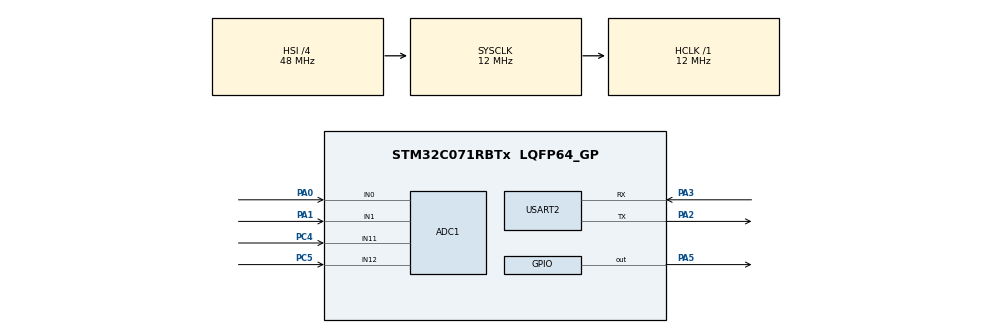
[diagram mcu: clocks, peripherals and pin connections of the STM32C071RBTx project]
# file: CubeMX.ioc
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ADC1.ContinuousConvMode=DISABLE
ADC1.EnableAnalogWatchDog1=false
ADC1.NbrOfConversionFlag=0
ADC1.SamplingTimeCommon1=ADC_SAMPLETIME_12CYCLES_5
ADC1.SelectedChannel=ADC_CHANNEL_0|ADC_CHANNEL_1|ADC_CHANNEL_11|ADC_CHANNEL_12
ADC1.WDGCONV1Channel1=ADC_CHANNEL_0
ADC1.WDGCONV1Channel2=ADC_CHANNEL_4
ADC1.WatchdogMode2=ADC_ANALOGWATCHDOG_ALL_REG
ADC1.WatchdogMode3=ADC_ANALOGWATCHDOG_ALL_REG
ADC1.master=1
Mcu.Family=STM32C0
Mcu.Name=STM32C071RBTx
Mcu.Package=LQFP64_GP
PA0.Mode=IN0
PA0.Signal=ADC1_IN0
PA1.Mode=IN1
PA1.Signal=ADC1_IN1
PA2.Mode=Asynchronous
PA2.Signal=USART2_TX
PA3.Mode=Asynchronous
PA3.Signal=USART2_RX
PA5.Signal=GPIO_Output
PC4.Mode=IN11
PC4.Signal=ADC1_IN11
PC5.Mode=IN12
PC5.Signal=ADC1_IN12
ProjectManager.HeapSize=0x200
ProjectManager.StackSize=0x400
ProjectManager.TargetToolchain=STM32CubeIDE
RCC.ADCFreq_Value=12000000
RCC.AHBFreq_Value=12000000
RCC.CortexFreq_Value=12000000
RCC.EXTERNAL_CLOCK_VALUE=12288000
RCC.HCLKFreq_Value=12000000
RCC.HSE_VALUE=8000000
RCC.HSI48_VALUE=48000000
RCC.HSI_VALUE=48000000
RCC.LSE_VALUE=32768
RCC.SYSCLKFreq_VALUE=12000000
USART2.VirtualMode-Asynchronous=VM_ASYNC
board=custom

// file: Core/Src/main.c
/* USER CODE BEGIN Header */
/**
  ******************************************************************************
  * @file           : main.c
  * @brief          : Steering + pot throttle + Y-axis gear/brake over UART
  *
  * NUCLEO-C071RB wiring:
  *   Steering joystick VRx -> A0  (PA0 / ADC1_IN0  / ADC_CHANNEL_0)
  *   Throttle potentiometer -> A4 (PC4 / ADC1_IN11 / ADC_CHANNEL_11)
  *   Joystick VRy -> A1 (PA1 / ADC1_IN1 / ADC_CHANNEL_1)
  *   Joystick VCC -> 3.3V, GND -> GND
  *
  * Behavior:
  *   Pot       -> throttle percentage (0..100)
  *   VRy UP    -> gear command (0/1)
  *   VRy DOWN  -> brake percentage (0..100)
  *
  * UART:
  *   USART2 @ 115200 8N1 -> STLink VCP (COM3)
  ******************************************************************************
  */
/* USER CODE END Header */

#include "main.h"

/* USER CODE BEGIN Includes */
#include <stdio.h>
#include <string.h>
#include <stdlib.h>
#include <stdint.h>
/* USER CODE END Includes */

/* USER CODE BEGIN PD */
#define DEADZONE_PCT   5
#define MAX_ANGLE_DEG  90
#define CALIB_SAMPLES  64
#define THR_DEADBAND   10
#define THR_INVERT     1    // inverted pot: T=4095 -> 0%, T=0 -> 100%
#define Y_DEADZONE_PCT 8
#define Y_UP_IS_HIGH   1    // 1: ADC above center means "up", 0: inverse
#define LOOP_DELAY_MS  20   // ~50 Hz (safe at 115200 with verbose line)
/* USER CODE END PD */

ADC_HandleTypeDef hadc1;
UART_HandleTypeDef huart2;

/* USER CODE BEGIN PV */
volatile uint32_t rawS = 0;      // steering raw (PA0 / CH0)
volatile uint32_t rawT = 0;      // throttle raw (PC4 / CH11)
volatile uint32_t rawY = 0;      // joystick Y raw (PA1 / CH1)

volatile uint32_t centerS  = 2048;
volatile uint32_t leftS    = 2048;
volatile uint32_t rightS   = 2048;

volatile uint32_t minT = 2048;
volatile uint32_t maxT = 2048;

volatile uint32_t centerY = 2048;
volatile uint32_t minY    = 2048;
volatile uint32_t maxY    = 2048;

volatile int32_t steer_pct    = 0;  // -100..+100
volatile int32_t angle_deg    = 0;  // -90..+90
volatile int32_t thr_pct      = 0;  // 0..100
volatile int32_t gear_cmd     = 0;  // 0/1
volatile int32_t brake_pct    = 0;  // 0..100
/* USER CODE END PV */

void SystemClock_Config(void);
static void MX_GPIO_Init(void);
static void MX_ADC1_Init(void);
static void MX_USART2_UART_Init(void);

/* USER CODE BEGIN 0 */
static int32_t clamp_i32(int32_t x, int32_t lo, int32_t hi)
{
  if (x < lo) return lo;
  if (x > hi) return hi;
  return x;
}

static uint32_t adc_read_channel(uint32_t channel)
{
  ADC_ChannelConfTypeDef sConfig = {0};
  sConfig.Channel = channel;
  sConfig.Rank    = ADC_REGULAR_RANK_1;
  sConfig.SamplingTime = ADC_SAMPLINGTIME_COMMON_1;

  if (HAL_ADC_ConfigChannel(&hadc1, &sConfig) != HAL_OK)
  {
    Error_Handler();
  }

  // Dummy conversion after channel switch
  HAL_ADC_Start(&hadc1);
  HAL_ADC_PollForConversion(&hadc1, 10);
  (void)HAL_ADC_GetValue(&hadc1);

  // Real conversion
  HAL_ADC_Start(&hadc1);
  HAL_ADC_PollForConversion(&hadc1, 10);
  uint32_t v = HAL_ADC_GetValue(&hadc1);
  HAL_ADC_Stop(&hadc1);

  return v;
}

static void uart_tx(const char *s)
{
  HAL_UART_Transmit(&huart2, (uint8_t*)s, (uint16_t)strlen(s), 100);
}
/* USER CODE END 0 */

int main(void)
{
  HAL_Init();
  SystemClock_Config();

  MX_GPIO_Init();
  MX_ADC1_Init();
  MX_USART2_UART_Init();

  /* USER CODE BEGIN 2 */
  // Give STLink VCP time to enumerate
  HAL_Delay(1500);

  uart_tx("HELLO\r\n");

  // --- Calibrate steering center (hands off steering joystick) ---
  uint32_t sumS = 0;
  for (int i = 0; i < CALIB_SAMPLES; i++)
  {
    sumS += adc_read_channel(ADC_CHANNEL_0);   // PA0
    HAL_Delay(2);
  }
  centerS = sumS / CALIB_SAMPLES;
  leftS = centerS;
  rightS = centerS;

  // --- Calibrate Y-axis center (release joystick to center) ---
  uint32_t sumY = 0;
  for (int i = 0; i < CALIB_SAMPLES; i++)
  {
    sumY += adc_read_channel(ADC_CHANNEL_1);   // PA1 (A1)
    HAL_Delay(2);
  }
  centerY = sumY / CALIB_SAMPLES;
  minY = centerY;
  maxY = centerY;

  // Initialize throttle diagnostics from pot input
  rawT = adc_read_channel(ADC_CHANNEL_11);     // PC4 (A4)
  minT = rawT;
  maxT = rawT;

  char bootmsg[200];
  int bootlen = snprintf(bootmsg, sizeof(bootmsg),
    "OK | steer CH0 center=%lu | pot CH11=%lu | Y CH1 center=%lu\r\n",
    (unsigned long)centerS, (unsigned long)rawT, (unsigned long)centerY);
  HAL_UART_Transmit(&huart2, (uint8_t*)bootmsg, (uint16_t)bootlen, 100);
  /* USER CODE END 2 */

  while (1)
  {
    // Read steering X, throttle pot, and joystick Y
    rawS = adc_read_channel(ADC_CHANNEL_0);    // Steering joystick PA0
    rawT = adc_read_channel(ADC_CHANNEL_11);   // Throttle pot PC4 (A4)
    rawY = adc_read_channel(ADC_CHANNEL_1);    // Joystick Y PA1

    // Learn steering min/max over time
    if (rawS < leftS)  leftS  = rawS;
    if (rawS > rightS) rightS = rawS;

    // Track observed throttle range for diagnostics
    if (rawT < minT) minT = rawT;
    if (rawT > maxT) maxT = rawT;

    // Track observed Y range for diagnostics
    if (rawY < minY) minY = rawY;
    if (rawY > maxY) maxY = rawY;

    // --- Steering mapping (-100..+100 with deadzone) ---
    int32_t ds = (int32_t)rawS - (int32_t)centerS;

    int32_t spanR = (int32_t)rightS - (int32_t)centerS;
    int32_t spanL = (int32_t)centerS - (int32_t)leftS;
    if (spanR < 10) spanR = 10;
    if (spanL < 10) spanL = 10;

    int32_t deadzone_counts = (DEADZONE_PCT * 4095) / 100;

    if (abs(ds) <= deadzone_counts)
      steer_pct = 0;
    else if (ds > 0)
      steer_pct = (ds * 100) / spanR;
    else
      steer_pct = (ds * 100) / spanL;

    steer_pct = clamp_i32(steer_pct, -100, 100);
    angle_deg = (steer_pct * MAX_ANGLE_DEG) / 100;

    // --- Throttle mapping from pot (0..4095 -> 0..100) ---
    int32_t t = (int32_t)rawT;
    if (THR_INVERT) t = 4095 - t;
    if (t < THR_DEADBAND) t = 0;
    thr_pct = (t * 100) / 4095;
    thr_pct = clamp_i32(thr_pct, 0, 100);

    // --- Y mapping: UP => gear command, DOWN => brake percentage ---
    int32_t dy = (int32_t)rawY - (int32_t)centerY;
    if (!Y_UP_IS_HIGH) dy = -dy;

    int32_t y_deadzone_counts = (Y_DEADZONE_PCT * 4095) / 100;

    if (dy > y_deadzone_counts)
    {
      gear_cmd = 1;
      brake_pct = 0;
    }
    else if (dy < -y_deadzone_counts)
    {
      gear_cmd = 0;
      int32_t down_counts = (-dy) - y_deadzone_counts;
      int32_t down_span = (int32_t)centerY - y_deadzone_counts;
      if (down_span < 1) down_span = 1;
      brake_pct = (down_counts * 100) / down_span;
      brake_pct = clamp_i32(brake_pct, 0, 100);
    }
    else
    {
      gear_cmd = 0;
      brake_pct = 0;
    }

    // Verbose output (same style as before)
    char msg[320];
    int len = snprintf(msg, sizeof(msg),
      "S=%4lu (L=%4lu C=%4lu R=%4lu) | steer=%4ld%% angle=%4lddeg || "
      "T=%4lu (min=%4lu max=%4lu) | thr=%3ld%% || "
      "Y=%4lu (min=%4lu C=%4lu max=%4lu) | gear=%ld brake=%3ld%%\r\n",
      (unsigned long)rawS,
      (unsigned long)leftS, (unsigned long)centerS, (unsigned long)rightS,
      (long)steer_pct, (long)angle_deg,
      (unsigned long)rawT,
      (unsigned long)minT, (unsigned long)maxT, (long)thr_pct,
      (unsigned long)rawY,
      (unsigned long)minY, (unsigned long)centerY, (unsigned long)maxY,
      (long)gear_cmd, (long)brake_pct);

    HAL_UART_Transmit(&huart2, (uint8_t*)msg, (uint16_t)len, 100);

    HAL_Delay(LOOP_DELAY_MS);
  }
}

/* ---- Init functions (kept standard) ---- */

void SystemClock_Config(void)
{
  RCC_OscInitTypeDef RCC_OscInitStruct = {0};
  RCC_ClkInitTypeDef RCC_ClkInitStruct = {0};

  __HAL_FLASH_SET_LATENCY(FLASH_LATENCY_0);

  RCC_OscInitStruct.OscillatorType = RCC_OSCILLATORTYPE_HSI;
  RCC_OscInitStruct.HSIState = RCC_HSI_ON;
  RCC_OscInitStruct.HSIDiv = RCC_HSI_DIV4;
  RCC_OscInitStruct.HSICalibrationValue = RCC_HSICALIBRATION_DEFAULT;
  if (HAL_RCC_OscConfig(&RCC_OscInitStruct) != HAL_OK)
  {
    Error_Handler();
  }

  RCC_ClkInitStruct.ClockType = RCC_CLOCKTYPE_HCLK|RCC_CLOCKTYPE_SYSCLK
                              |RCC_CLOCKTYPE_PCLK1;
  RCC_ClkInitStruct.SYSCLKSource = RCC_SYSCLKSOURCE_HSI;
  RCC_ClkInitStruct.SYSCLKDivider = RCC_SYSCLK_DIV1;
  RCC_ClkInitStruct.AHBCLKDivider = RCC_HCLK_DIV1;
  RCC_ClkInitStruct.APB1CLKDivider = RCC_APB1_DIV1;

  if (HAL_RCC_ClockConfig(&RCC_ClkInitStruct, FLASH_LATENCY_0) != HAL_OK)
  {
    Error_Handler();
  }
}

static void MX_ADC1_Init(void)
{
  ADC_ChannelConfTypeDef sConfig = {0};

  hadc1.Instance = ADC1;
  hadc1.Init.ClockPrescaler = ADC_CLOCK_SYNC_PCLK_DIV1;
  hadc1.Init.Resolution = ADC_RESOLUTION_12B;
  hadc1.Init.DataAlign = ADC_DATAALIGN_RIGHT;
  hadc1.Init.ScanConvMode = ADC_SCAN_DISABLE;
  hadc1.Init.EOCSelection = ADC_EOC_SINGLE_CONV;
  hadc1.Init.LowPowerAutoWait = DISABLE;
  hadc1.Init.LowPowerAutoPowerOff = DISABLE;
  hadc1.Init.ContinuousConvMode = DISABLE;
  hadc1.Init.NbrOfConversion = 1;
  hadc1.Init.DiscontinuousConvMode = DISABLE;
  hadc1.Init.ExternalTrigConv = ADC_SOFTWARE_START;
  hadc1.Init.ExternalTrigConvEdge = ADC_EXTERNALTRIGCONVEDGE_NONE;
  hadc1.Init.DMAContinuousRequests = DISABLE;
  hadc1.Init.Overrun = ADC_OVR_DATA_PRESERVED;
  hadc1.Init.SamplingTimeCommon1 = ADC_SAMPLETIME_12CYCLES_5;
  hadc1.Init.OversamplingMode = DISABLE;
  hadc1.Init.TriggerFrequencyMode = ADC_TRIGGER_FREQ_HIGH;
  if (HAL_ADC_Init(&hadc1) != HAL_OK)
  {
    Error_Handler();
  }

  // Base channel config; actual channel selected in adc_read_channel()
  sConfig.Channel = ADC_CHANNEL_0;
  sConfig.Rank = ADC_REGULAR_RANK_1;
  sConfig.SamplingTime = ADC_SAMPLINGTIME_COMMON_1;
  if (HAL_ADC_ConfigChannel(&hadc1, &sConfig) != HAL_OK)
  {
    Error_Handler();
  }
}

static void MX_USART2_UART_Init(void)
{
  huart2.Instance = USART2;
  huart2.Init.BaudRate = 115200;
  huart2.Init.WordLength = UART_WORDLENGTH_8B;
  huart2.Init.StopBits = UART_STOPBITS_1;
  huart2.Init.Parity = UART_PARITY_NONE;
  huart2.Init.Mode = UART_MODE_TX_RX;
  huart2.Init.HwFlowCtl = UART_HWCONTROL_NONE;
  huart2.Init.OverSampling = UART_OVERSAMPLING_16;
  huart2.Init.OneBitSampling = UART_ONE_BIT_SAMPLE_DISABLE;
  huart2.Init.ClockPrescaler = UART_PRESCALER_DIV1;
  huart2.AdvancedInit.AdvFeatureInit = UART_ADVFEATURE_NO_INIT;
  if (HAL_UART_Init(&huart2) != HAL_OK)
  {
    Error_Handler();
  }
}

static void MX_GPIO_Init(void)
{
  GPIO_InitTypeDef GPIO_InitStruct = {0};

  __HAL_RCC_GPIOA_CLK_ENABLE();
  __HAL_RCC_GPIOC_CLK_ENABLE();

  HAL_GPIO_WritePin(GPIOA, GPIO_PIN_5, GPIO_PIN_RESET);

  // PA5 output (LED)
  GPIO_InitStruct.Pin = GPIO_PIN_5;
  GPIO_InitStruct.Mode = GPIO_MODE_OUTPUT_PP;
  GPIO_InitStruct.Pull = GPIO_NOPULL;
  GPIO_InitStruct.Speed = GPIO_SPEED_FREQ_LOW;
  HAL_GPIO_Init(GPIOA, &GPIO_InitStruct);
}

void Error_Handler(void)
{
  const char *e = "ERROR_HANDLER\r\n";
  HAL_UART_Transmit(&huart2, (uint8_t*)e, (uint16_t)strlen(e), 100);
  __disable_irq();
  while (1) { }
}
